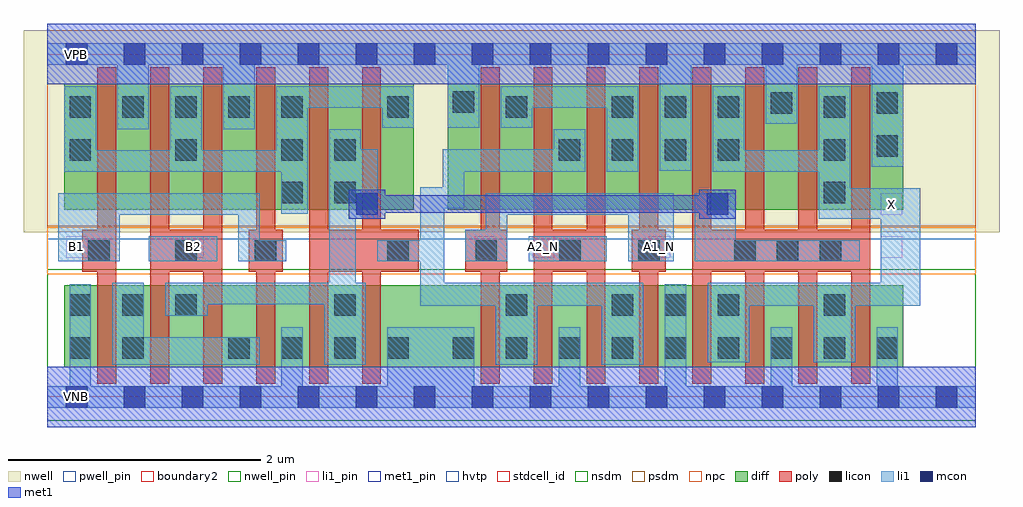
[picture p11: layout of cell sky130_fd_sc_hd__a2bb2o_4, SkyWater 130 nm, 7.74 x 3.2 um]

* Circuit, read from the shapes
.subckt sky130_fd_sc_hd__a2bb2o_4 A1_N A2_N B1 B2 VGND VNB VPB VPWR X
XM1 n1 B1 VGND VNB sky130_fd_pr__nfet_01v8 w=0.65 l=0.15 m=2
XM2 n2 B2 n1 VNB sky130_fd_pr__nfet_01v8 w=0.65 l=0.15 m=2
XM3 n2 n3 VGND VNB sky130_fd_pr__nfet_01v8 w=0.65 l=0.15 m=2
XM4 n3 A1_N VGND VNB sky130_fd_pr__nfet_01v8 w=0.65 l=0.15 m=2
XM5 VGND A2_N n3 VNB sky130_fd_pr__nfet_01v8 w=0.65 l=0.15 m=2
XM6 X n2 VGND VNB sky130_fd_pr__nfet_01v8 w=0.65 l=0.15 m=4
XM7 VPWR B1 n4 VPB sky130_fd_pr__pfet_01v8_hvt w=1 l=0.15 m=2
XM8 n4 B2 VPWR VPB sky130_fd_pr__pfet_01v8_hvt w=1 l=0.15 m=2
XM9 n2 n3 n4 VPB sky130_fd_pr__pfet_01v8_hvt w=1 l=0.15 m=2
XM10 n5 A1_N VPWR VPB sky130_fd_pr__pfet_01v8_hvt w=1 l=0.15 m=2
XM11 n3 A2_N n5 VPB sky130_fd_pr__pfet_01v8_hvt w=1 l=0.15 m=2
XM12 X n2 VPWR VPB sky130_fd_pr__pfet_01v8_hvt w=1 l=0.15 m=4
.ends

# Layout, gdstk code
import gdstk
lib = gdstk.Library(unit=1e-6, precision=1e-09)
def R(c, l, rs):  # rectangles x0, y0, x1, y1
    for r in rs: c.add(gdstk.rectangle(r[:2], r[2:], *l))
def A(c, l, x, y, w, h, nx, ny, dx, dy):  # array of equal rectangles
    R(c, l, [(x+i*dx, y+j*dy, x+i*dx+w, y+j*dy+h) for i in range(nx) for j in range(ny)])
def P(c, l, *ps):  # polygons
    for p in ps: c.add(gdstk.Polygon(p, *l))
nwell_pin = (64, 16)
nwell = (64, 20)
diff = (65, 20)
poly = (66, 20)
licon = (66, 44)
li1_pin = (67, 16)
li1 = (67, 20)
mcon = (67, 44)
met1_pin = (68, 16)
met1 = (68, 20)
hvtp = (78, 44)
stdcell_id = (81, 4)
nsdm = (93, 44)
psdm = (94, 20)
npc = (95, 20)
pwell_pin = (122, 16)
boundary2 = (236, 0)

sky130_fd_sc_hd__a2bb2o_ = lib.new_cell('sky130_fd_sc_hd__a2bb2o_4')
R(sky130_fd_sc_hd__a2bb2o_, nwell_pin, [(0.15,2.635,0.32,2.805)])
R(sky130_fd_sc_hd__a2bb2o_, nwell, [(-0.19,1.305,7.55,2.91)])
R(sky130_fd_sc_hd__a2bb2o_, diff, [(0.135,0.235,6.785,0.885), (0.135,1.485,2.905,2.485), (3.175,1.485,6.785,2.485)])
P(sky130_fd_sc_hd__a2bb2o_, poly, [(0.545,2.615),(0.395,2.615),(0.395,1.325),(0.275,1.325),(0.275,0.995),(0.395,0.995),(0.395,0.105),(0.545,0.105)],
  [(1.385,2.615),(1.235,2.615),(1.235,1.325),(0.965,1.325),(0.965,2.615),(0.815,2.615),(0.815,0.105),(0.965,0.105),(0.965,0.995),(1.235,0.995),(1.235,0.105),(1.385,0.105)],
  [(1.865,1.325),(1.805,1.325),(1.805,2.615),(1.655,2.615),(1.655,1.325),(1.595,1.325),(1.595,0.995),(1.655,0.995),(1.655,0.105),(1.805,0.105),(1.805,0.995),(1.865,0.995)],
  [(2.945,1.325),(2.645,1.325),(2.645,2.615),(2.495,2.615),(2.495,1.325),(2.225,1.325),(2.225,2.615),(2.075,2.615),(2.075,0.105),(2.225,0.105),(2.225,0.995),(2.495,0.995),(2.495,0.105),(2.645,0.105),(2.645,0.995),(2.945,0.995)],
  [(3.645,1.325),(3.585,1.325),(3.585,2.615),(3.435,2.615),(3.435,1.325),(3.315,1.325),(3.315,0.995),(3.435,0.995),(3.435,0.105),(3.585,0.105),(3.585,0.995),(3.645,0.995)],
  [(4.425,2.615),(4.275,2.615),(4.275,1.325),(4.005,1.325),(4.005,2.615),(3.855,2.615),(3.855,0.105),(4.005,0.105),(4.005,0.995),(4.275,0.995),(4.275,0.105),(4.425,0.105)],
  [(4.905,1.325),(4.845,1.325),(4.845,2.615),(4.695,2.615),(4.695,1.325),(4.635,1.325),(4.635,0.995),(4.695,0.995),(4.695,0.105),(4.845,0.105),(4.845,0.995),(4.905,0.995)],
  [(6.525,2.615),(6.375,2.615),(6.375,1.325),(6.105,1.325),(6.105,2.615),(5.955,2.615),(5.955,1.325),(5.685,1.325),(5.685,2.615),(5.535,2.615),(5.535,1.325),(5.265,1.325),(5.265,2.615),(5.115,2.615),(5.115,0.105),(5.265,0.105),(5.265,0.995),(5.535,0.995),(5.535,0.105),(5.685,0.105),(5.685,0.995),(5.955,0.995),(5.955,0.105),(6.105,0.105),(6.105,0.995),(6.375,0.995),(6.375,0.105),(6.525,0.105)])
A(sky130_fd_sc_hd__a2bb2o_, licon, 1.435, 0.305, 0.17, 0.17, 4, 1, 0.42, 0)
A(sky130_fd_sc_hd__a2bb2o_, licon, 3.215, 0.305, 0.17, 0.17, 9, 1, 0.42, 0)
A(sky130_fd_sc_hd__a2bb2o_, licon, 0.175, 0.645, 0.17, 0.17, 3, 1, 0.42, 0)
A(sky130_fd_sc_hd__a2bb2o_, licon, 4.475, 0.645, 0.17, 0.17, 3, 2, 0.42, 1.57)
A(sky130_fd_sc_hd__a2bb2o_, licon, 5.445, 1.075, 0.17, 0.17, 3, 1, 0.34, 0)
A(sky130_fd_sc_hd__a2bb2o_, licon, 6.155, 1.535, 0.17, 0.17, 1, 3, 0, 0.34)
A(sky130_fd_sc_hd__a2bb2o_, licon, 0.175, 1.875, 0.17, 0.17, 3, 1, 0.84, 0)
A(sky130_fd_sc_hd__a2bb2o_, licon, 4.055, 1.875, 0.17, 0.17, 4, 1, 0.42, 0)
A(sky130_fd_sc_hd__a2bb2o_, licon, 0.175, 2.215, 0.17, 0.17, 5, 1, 0.42, 0)
R(sky130_fd_sc_hd__a2bb2o_, licon, [(0.175,0.305,0.345,0.475), (0.595,0.305,0.765,0.475), (2.275,0.645,2.445,0.815), (3.635,0.645,3.805,0.815), (6.155,0.645,6.325,0.815), (0.325,1.075,0.495,1.245), (1.015,1.075,1.185,1.245), (1.645,1.075,1.815,1.245), (2.695,1.075,2.865,1.245), (3.395,1.075,3.565,1.245), (4.06,1.075,4.23,1.245), (4.685,1.075,4.855,1.245), (1.855,1.535,2.025,1.705), (2.275,1.535,2.445,1.705), (2.275,1.875,2.445,2.045), (6.575,1.905,6.745,2.075), (2.695,2.215,2.865,2.385), (3.635,2.215,3.805,2.385), (5.735,2.245,5.905,2.415), (6.575,2.245,6.745,2.415), (3.215,2.255,3.385,2.425)])
R(sky130_fd_sc_hd__a2bb2o_, li1_pin, [(0.15,1.105,0.32,1.275), (1.07,1.105,1.24,1.275), (3.39,1.105,3.56,1.275), (3.85,1.105,4.02,1.275), (4.77,1.105,4.94,1.275), (6.61,1.105,6.78,1.275), (6.61,1.445,6.78,1.615)])
R(sky130_fd_sc_hd__a2bb2o_, li1, [(0.805,1.075,1.345,1.275), (3.815,1.075,4.435,1.275)])
P(sky130_fd_sc_hd__a2bb2o_, li1, [(1.685,0.475),(0.765,0.475),(0.765,0.905),(0.515,0.905),(0.515,0.255),(1.685,0.255)],
  [(1.895,1.245),(1.685,1.245),(1.685,1.615),(0.085,1.615),(0.085,1.075),(0.575,1.075),(0.575,1.445),(1.515,1.445),(1.515,1.075),(1.895,1.075)],
  [(2.62,1.965),(2.485,1.965),(2.485,2.125),(2.235,2.125),(2.235,0.905),(0.935,0.905),(0.935,0.645),(1.27,0.645),(1.27,0.735),(2.195,0.735),(2.195,0.255),(2.525,0.255),(2.525,0.905),(2.445,0.905),(2.445,1.415),(2.62,1.415)],
  [(4.965,1.615),(3.475,1.615),(3.475,1.325),(3.315,1.325),(3.315,1.075),(3.645,1.075),(3.645,1.445),(4.605,1.445),(4.605,1.075),(4.965,1.075)],
  [(6.44,1.245),(5.46,1.245),(5.46,1.615),(5.135,1.615),(5.135,1.075),(6.44,1.075)],
  [(6.92,1.655),(6.365,1.655),(6.365,2.465),(6.115,2.465),(6.115,1.955),(5.525,1.955),(5.525,2.465),(5.275,2.465),(5.275,1.785),(6.115,1.785),(6.115,1.415),(6.61,1.415),(6.61,0.905),(5.235,0.905),(5.235,0.275),(5.565,0.275),(5.565,0.725),(6.075,0.725),(6.075,0.275),(6.405,0.275),(6.405,0.725),(6.92,0.725)],
  [(7.36,2.805),(0,2.805),(0,2.635),(0.555,2.635),(0.555,2.125),(0.805,2.125),(0.805,2.635),(1.395,2.635),(1.395,2.125),(1.645,2.125),(1.645,2.635),(3.175,2.635),(3.175,2.135),(3.425,2.135),(3.425,2.635),(4.855,2.635),(4.855,1.795),(5.105,1.795),(5.105,2.635),(5.695,2.635),(5.695,2.165),(5.945,2.165),(5.945,2.635),(6.535,2.635),(6.535,1.825),(6.785,1.825),(6.785,2.635),(7.36,2.635)],
  [(7.36,0.085),(6.745,0.085),(6.745,0.555),(6.575,0.555),(6.575,0.085),(5.905,0.085),(5.905,0.555),(5.735,0.555),(5.735,0.085),(5.065,0.085),(5.065,0.895),(4.895,0.895),(4.895,0.085),(4.225,0.085),(4.225,0.555),(4.055,0.555),(4.055,0.085),(3.385,0.085),(3.385,0.555),(2.695,0.555),(2.695,0.085),(2.025,0.085),(2.025,0.555),(1.855,0.555),(1.855,0.085),(0.345,0.085),(0.345,0.895),(0.175,0.895),(0.175,0.085),(0,0.085),(0,-0.085),(7.36,-0.085)],
  [(2.905,2.465),(1.815,2.465),(1.815,1.955),(1.225,1.955),(1.225,2.465),(0.975,2.465),(0.975,1.955),(0.385,1.955),(0.385,2.465),(0.135,2.465),(0.135,1.785),(1.855,1.785),(1.855,1.455),(2.065,1.455),(2.065,2.295),(2.655,2.295),(2.655,2.135),(2.905,2.135)],
  [(4.685,2.465),(3.595,2.465),(3.595,2.135),(3.845,2.135),(3.845,2.295),(4.435,2.295),(4.435,1.785),(4.685,1.785)],
  [(4.725,0.905),(3.145,0.905),(3.145,1.495),(3.305,1.495),(3.305,1.785),(4.265,1.785),(4.265,2.125),(4.015,2.125),(4.015,1.965),(3.135,1.965),(3.135,1.665),(2.955,1.665),(2.955,1.245),(2.615,1.245),(2.615,1.075),(2.955,1.075),(2.955,0.725),(3.555,0.725),(3.555,0.255),(3.885,0.255),(3.885,0.725),(4.395,0.725),(4.395,0.255),(4.725,0.255)])
A(sky130_fd_sc_hd__a2bb2o_, mcon, 0.145, -0.085, 0.17, 0.17, 16, 2, 0.46, 2.72)
R(sky130_fd_sc_hd__a2bb2o_, mcon, [(2.45,1.445,2.62,1.615), (5.23,1.445,5.4,1.615)])
R(sky130_fd_sc_hd__a2bb2o_, met1_pin, [(0.15,-0.085,0.32,0.085), (0.15,2.635,0.32,2.805)])
P(sky130_fd_sc_hd__a2bb2o_, met1, [(5.46,1.645),(5.17,1.645),(5.17,1.6),(2.68,1.6),(2.68,1.645),(2.39,1.645),(2.39,1.415),(2.68,1.415),(2.68,1.46),(5.17,1.46),(5.17,1.415),(5.46,1.415)])
R(sky130_fd_sc_hd__a2bb2o_, hvtp, [(0,1.25,7.36,2.72)])
R(sky130_fd_sc_hd__a2bb2o_, stdcell_id, [(0,0,7.36,2.72)])
R(sky130_fd_sc_hd__a2bb2o_, nsdm, [(0,-0.19,7.36,1.015)])
R(sky130_fd_sc_hd__a2bb2o_, psdm, [(0,1.355,7.36,2.91)])
R(sky130_fd_sc_hd__a2bb2o_, npc, [(0,0.975,7.36,1.345)])
R(sky130_fd_sc_hd__a2bb2o_, pwell_pin, [(0.15,-0.085,0.32,0.085)])
R(sky130_fd_sc_hd__a2bb2o_, boundary2, [(0,0,7.36,2.72)])
sky130_fd_sc_hd__a2bb2o_.add(gdstk.FlexPath([(0,2.72),(7.36,2.72)], 0.48, ends="flush", simple_path=True, layer=68, datatype=20))  # met1
sky130_fd_sc_hd__a2bb2o_.add(gdstk.FlexPath([(0,0),(7.36,0)], 0.48, ends="flush", simple_path=True, layer=68, datatype=20))  # met1
sky130_fd_sc_hd__a2bb2o_.add(gdstk.Label('B1', (0.23,1.19), layer=67, texttype=5))
sky130_fd_sc_hd__a2bb2o_.add(gdstk.Label('B2', (1.155,1.19), layer=67, texttype=5))
sky130_fd_sc_hd__a2bb2o_.add(gdstk.Label('X', (6.695,1.53), layer=67, texttype=5))
sky130_fd_sc_hd__a2bb2o_.add(gdstk.Label('A1_N', (4.855,1.19), layer=67, texttype=5))
sky130_fd_sc_hd__a2bb2o_.add(gdstk.Label('A2_N', (3.935,1.19), layer=67, texttype=5))
sky130_fd_sc_hd__a2bb2o_.add(gdstk.Label('VNB', (0.23,0), layer=64, texttype=59))
sky130_fd_sc_hd__a2bb2o_.add(gdstk.Label('VPB', (0.23,2.72), layer=64, texttype=5))
sky130_fd_sc_hd__a2bb2o_.add(gdstk.Label('VGND', (0.23,0), layer=68, texttype=5))
sky130_fd_sc_hd__a2bb2o_.add(gdstk.Label('VPWR', (0.23,2.72), layer=68, texttype=5))
sky130_fd_sc_hd__a2bb2o_.add(gdstk.Label('a2bb2o_4', (0,0), layer=83, texttype=44))

lib.write_gds('sky130_fd_sc_hd__a2bb2o_4.gds')
